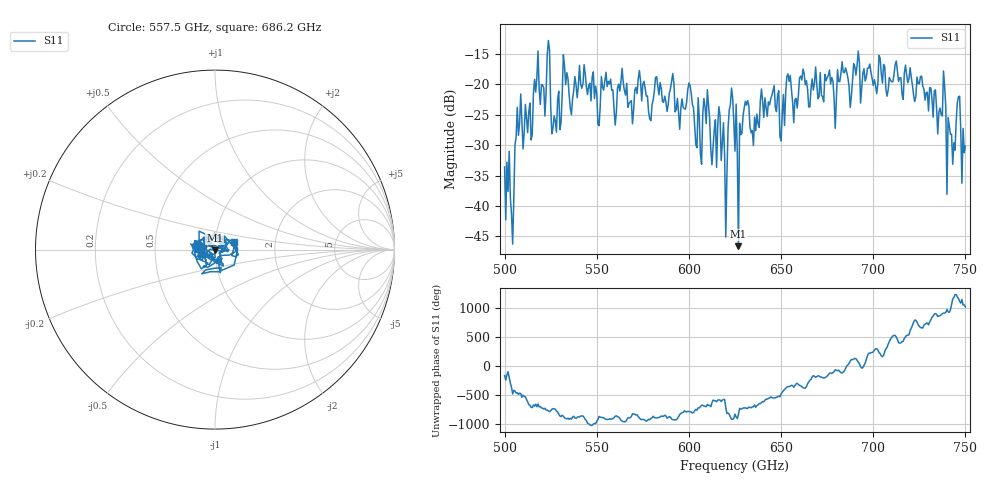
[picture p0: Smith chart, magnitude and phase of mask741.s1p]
!Created with skrf (http://scikit-rf.org).
# GHz S MA R 50.0
!freq magS11 angS11
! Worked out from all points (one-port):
!   401 points, 500 GHz to 750 GHz, reference 50 ohm
!   lowest |S11| = -46.6 dB at 626.9 GHz (marker M1), VSWR 1.01, Z = 49.8 - j0.43 ohm
!   |S11| at or under -10 dB: start of sweep to end of sweep
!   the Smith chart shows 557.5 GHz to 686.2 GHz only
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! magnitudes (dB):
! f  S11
! 500 GHz  -33.6
! 504.4 GHz  -46.3
! 507.5 GHz  -28.4
! 513.8 GHz  -23.1
! 516.9 GHz  -21.3
! 523.8 GHz  -12.8
! 526.9 GHz  -25.2
! 531.2 GHz  -21.6
! 562.5 GHz  -21.1
! 579.4 GHz  -26.0
! 590.6 GHz  -19.5
! 593.8 GHz  -22.3
! 600.6 GHz  -20.1
! 605.6 GHz  -25.6
! 609.4 GHz  -26.4
! 619.4 GHz  -31.7
! 622.5 GHz  -23.3
! 625 GHz  -31.0
! 626.9 GHz  -46.6
! 631.2 GHz  -23.4
! 635 GHz  -30.1
! 656.2 GHz  -22.8
! 687.5 GHz  -23.8
! 718.8 GHz  -19.7
! 738.1 GHz  -17.8
! 743.1 GHz  -33.1
! 746.2 GHz  -22.0
! 750 GHz  -30.2
